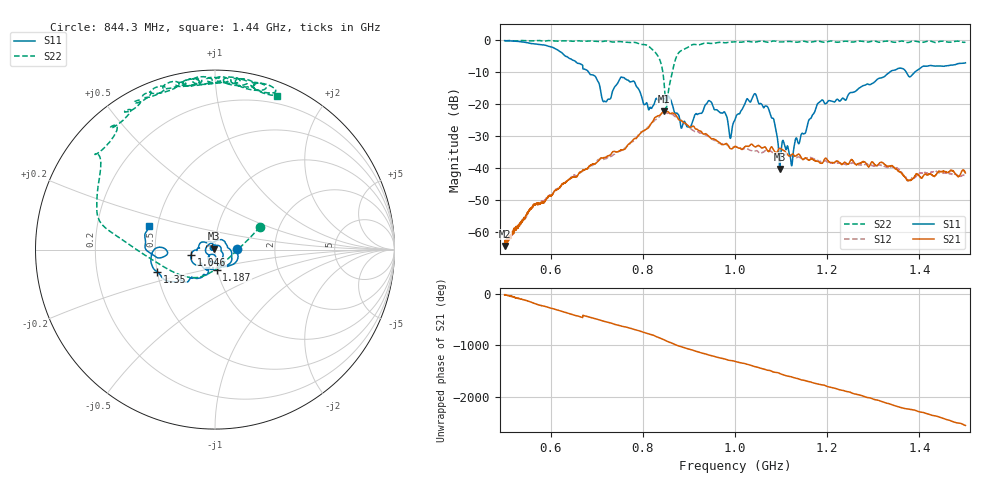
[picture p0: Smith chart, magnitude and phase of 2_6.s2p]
!Agilent Technologies,E8364B,US42250235,A.06.04.32
!Agilent E8364B: A.06.04.32
!Date: Thursday, October 01, 2020 11:18:21
!Correction: S11(Full 2 Port(1,2)) S21(Full 2 Port(1,2)) S12(Full 2 Port(1,2)) S22(Full 2 Port(1,2))
!S2P File: Measurements: S11, S21, S12, S22:
# Hz S  dB  R 50
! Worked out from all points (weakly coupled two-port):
!   2650 points, 500 MHz to 1.5 GHz, reference 50 ohm
!   highest |S21| = -22.37 dB at 845.4 MHz (marker M1); lowest = -64.4 dB at 501.5 MHz (marker M2)
!   lowest |S11| = -40.4 dB at 1.097 GHz (marker M3), VSWR 1.02, Z = 49.2 + j0.468 ohm
!   |S11| at or under -10 dB: 682.1 MHz to 1.336 GHz (653.8 MHz wide, 64.8 % of centre); 1.371 GHz to 1.391 GHz (19.1 MHz wide, 1.38 % of centre)
!   |S22| runs from -21.3 to -0.1 dB; largest |S21 - S12| = 0.081
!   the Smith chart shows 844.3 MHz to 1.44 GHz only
!   S11 on the Smith chart (normalised r, x): 844.3 MHz: 1.28, +0.00; 1.046 GHz: 0.76, -0.05; 1.187 GHz: 0.99, -0.23; 1.35 GHz: 0.50, -0.14; 1.44 GHz: 0.45, +0.14
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5e8  -0.19 -175.1  -63.94 -20.8  -64.43 -14.8  -0.25 136.3
5.0151e8  -0.21 -175.9  -64.44 -17.9  -63.23 -20.6  -0.25 135.8
6.004153e8  -2.12 119.3  -48.69 80.0  -48.64 81.2  -0.21 129.8
6.668554e8  -7.65 71.8  -41.13 -95.4  -41.28 -98.4  -0.34 121.2
7.166855e8  -19.15 67.3  -36.82 -178.8  -37.24 127.5  -0.36 110.8
7.555681e8  -11.75 72.7  -34.44 85.2  -34.39 32.9  -0.59 107.6
8.337108e8  -18.96 14.7  -23.69 -130.6  -24.37 169.2  -5.28 47.6
8.442809e8  -18.33 0.4  -22.42 -169.1  -22.48 127.2  -11.05 26.9
8.454134e8  -18.37 -1.3  -22.37 -174.3  -22.45 121.4  -12.47 22.8
8.529634e8  -17.28 -23.3  -22.43 155.6  -22.98 90.7  -19.28 -88.1
8.82786e8  -27.32 -137.0  -25.14 52.2  -25.28 -14.5  -3.35 164.1
9.443186e8  -19.00 -45.4  -30.24 -115.5  -30.40 177.1  -1.04 129.9
1.000189e9  -24.81 -86.6  -33.28 123.9  -33.44 48.6  -0.55 118.5
1.045866e9  -17.28 -167.3  -33.42 17.1  -34.66 -59.5  -0.62 108.0
1.097206e9  -40.38 150.2  -33.90 -111.6  -35.39 179.0  -0.60 105.2
1.122499e9  -39.28 175.5  -35.96 -176.4  -36.23 117.2  -0.50 103.2
1.166667e9  -23.87 -46.0  -37.21 75.3  -36.90 15.4  -0.62 95.4
1.187052e9  -19.00 -84.9  -38.58 30.5  -37.89 -28.1  -0.53 100.9
1.333522e9  -10.29 -144.2  -39.61 21.9  -39.94 -6.9  -0.36 83.6
1.350132e9  -9.22 -159.3  -40.50 -27.2  -40.06 -52.4  -0.65 77.9
1.439977e9  -8.17 160.0  -41.45 131.4  -41.34 108.7  -0.67 68.0
1.5e9  -7.14 140.8  -41.61 -42.6  -42.44 -43.7  -0.68 60.6
